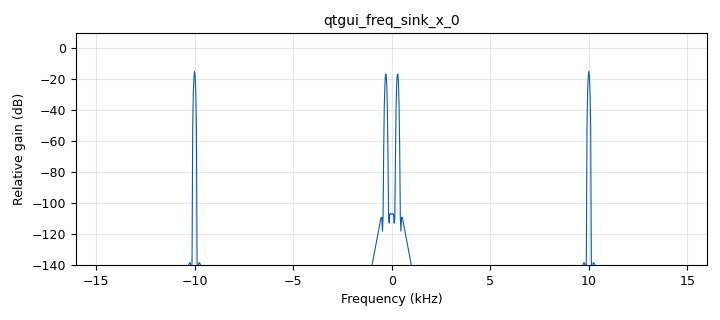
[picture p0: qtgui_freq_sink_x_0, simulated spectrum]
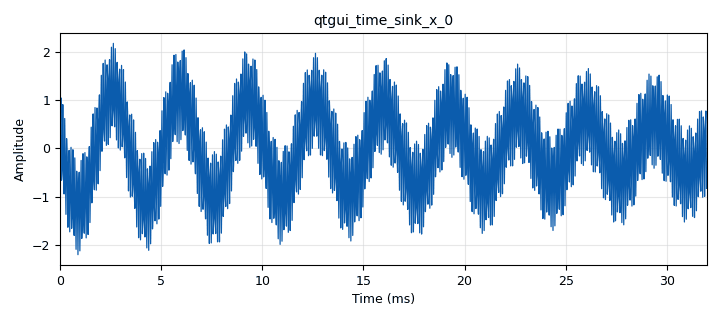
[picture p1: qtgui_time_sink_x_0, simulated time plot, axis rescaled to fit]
<?xml version='1.0' encoding='utf-8'?>
<?grc format='1' created='3.7.9'?>
<flow_graph>
<block>
<key>options</key>
<param><key>id</key><value>pythonBlockEx</value></param>
<param><key>category</key><value>Custom</value></param>
<param><key>generate_options</key><value>qt_gui</value></param>
</block>
<block>
<key>variable</key>
<param><key>id</key><value>Ampt</value></param>
<param><key>value</key><value>3</value></param>
</block>
<block>
<key>variable</key>
<param><key>id</key><value>samp_rate</value></param>
<param><key>value</key><value>32000.0</value></param>
</block>
<block>
<key>analog_sig_source_x</key>
<param><key>id</key><value>analog_sig_source_x_0</value></param>
<param><key>amp</key><value>1</value></param>
<param><key>freq</key><value>10000</value></param>
<param><key>offset</key><value>0</value></param>
<param><key>type</key><value>float</value></param>
<param><key>samp_rate</key><value>samp_rate</value></param>
<param><key>waveform</key><value>analog.GR_SIN_WAVE</value></param>
</block>
<block>
<key>blocks_throttle</key>
<param><key>id</key><value>blocks_throttle_0</value></param>
<param><key>samples_per_second</key><value>samp_rate</value></param>
<param><key>type</key><value>float</value></param>
</block>
<block>
<key>epy_block</key>
<param><key>id</key><value>pyBlockSigGenerator</value></param>
<param><key>_source_code</key><value>"""&#13;
Embedded Python Blocks:&#13;
&#13;
Each this file is saved, GRC will instantiate the first class it finds to get&#13;
ports and parameters of your block. The arguments to __init__  will be the&#13;
parameters. All of them are required to have default values!&#13;
"""&#13;
import numpy as np&#13;
from gnuradio import gr&#13;
&#13;
class blk(gr.sync_block):&#13;
    def __init__(self, sample_rate=32000.0, freq_to_add=300.0, signal_amp=1.0, factor=1.0):  # only default arguments here&#13;
        gr.sync_block.__init__(&#13;
            self,&#13;
            name='Embedded Python Block',&#13;
            in_sig=[np.float32],&#13;
            out_sig=[np.float32]&#13;
        )&#13;
        self.factor = factor&#13;
        self.sample_rate=sample_rate&#13;
        self.freq_to_add=freq_to_add&#13;
        self.signal_amp=signal_amp&#13;
        &#13;
    def work(self, input_items, output_items):	&#13;
        f_m = 300.0&#13;
        f_c = 4000.0&#13;
        Dp = 10.0&#13;
        # output_items[0][:] = np.sin(2*np.pi*f_m*input_items[0]) * np.sin(2*np.pi*f_c*input_items[0]) #self.factor&#13;
        # output_items[0][:] = np.cos(2*np.pi*f_c*input_items[0] + Dp*np.sin(2*np.pi*f_m*input_items[0])) #self.factor&#13;
&#13;
        input_in_fft = np.fft.fftshift(np.fft.fft(input_items[0][:], len(output_items[0][:])))&#13;
        freq2mod = int(len(output_items[0][:]) * 0.5 * (1 + 2*self.freq_to_add/self.sample_rate)) # add to the upper half vector&#13;
        input_in_fft[freq2mod] = (self.signal_amp)*len(output_items[0][:])        &#13;
        freq2mod = int(len(output_items[0][:]) * 0.5 *(1 - 2*self.freq_to_add/self.sample_rate)) # add to the lower half vector         &#13;
        input_in_fft[freq2mod] = (self.signal_amp)*len(output_items[0][:])&#13;
&#13;
        output_items[0][:] = np.fft.ifft(np.fft.ifftshift(input_in_fft), len(output_items[0]))&#13;
&#13;
        return len(output_items[0])</value></param>
<param><key>factor</key><value>Ampt</value></param>
<param><key>freq_to_add</key><value>300.0</value></param>
<param><key>sample_rate</key><value>samp_rate</value></param>
<param><key>signal_amp</key><value>1.0</value></param>
</block>
<block>
<key>qtgui_freq_sink_x</key>
<param><key>id</key><value>qtgui_freq_sink_x_0</value></param>
<param><key>bw</key><value>samp_rate</value></param>
<param><key>fc</key><value>0</value></param>
<param><key>fftsize</key><value>1024</value></param>
<param><key>showports</key><value>True</value></param>
<param><key>type</key><value>float</value></param>
<param><key>wintype</key><value>firdes.WIN_BLACKMAN_hARRIS</value></param>
</block>
<block>
<key>qtgui_time_sink_x</key>
<param><key>id</key><value>qtgui_time_sink_x_0</value></param>
<param><key>color1</key><value>"blue"</value></param>
<param><key>label1</key><value></value></param>
<param><key>size</key><value>1024</value></param>
<param><key>srate</key><value>samp_rate</value></param>
<param><key>type</key><value>float</value></param>
</block>
<connection><source_block_id>analog_sig_source_x_0</source_block_id><sink_block_id>blocks_throttle_0</sink_block_id><source_key>0</source_key><sink_key>0</sink_key></connection>
<connection><source_block_id>blocks_throttle_0</source_block_id><sink_block_id>pyBlockSigGenerator</sink_block_id><source_key>0</source_key><sink_key>0</sink_key></connection>
<connection><source_block_id>pyBlockSigGenerator</source_block_id><sink_block_id>qtgui_freq_sink_x_0</sink_block_id><source_key>0</source_key><sink_key>0</sink_key></connection>
<connection><source_block_id>pyBlockSigGenerator</source_block_id><sink_block_id>qtgui_time_sink_x_0</sink_block_id><source_key>0</source_key><sink_key>0</sink_key></connection>
</flow_graph>
